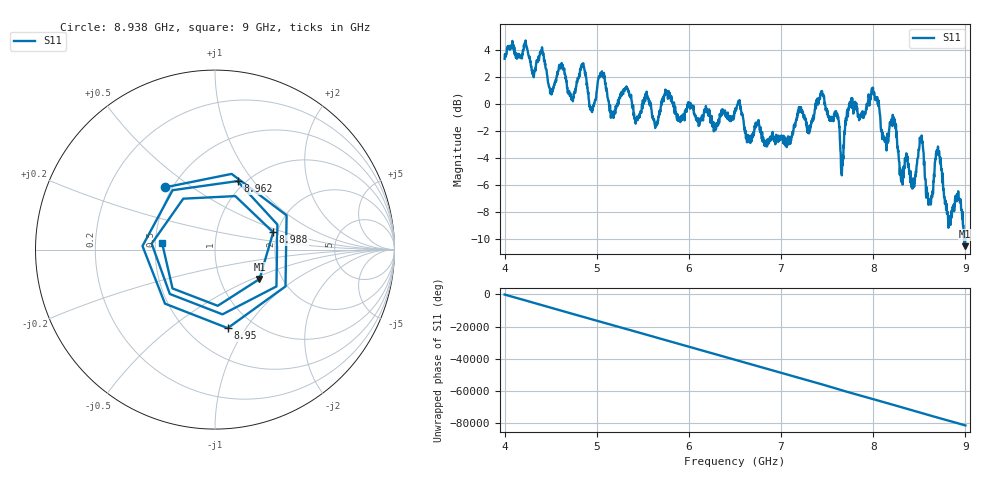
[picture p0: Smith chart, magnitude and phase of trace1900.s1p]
! Created with skrf 1.8.0 (http://scikit-rf.org).
# Hz S RI R 50.0
!freq ReS11 ImS11
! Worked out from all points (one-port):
!   1601 points, 4 GHz to 9 GHz, reference 50 ohm
!   lowest |S11| = -10.5 dB at 8.991 GHz (marker M1), VSWR 1.85, Z = 76.9 - j27.7 ohm
!   |S11| at or under -10 dB: 8.989572 GHz to 8.995151 GHz (5.579 MHz wide, 0.062 % of centre); 8.997567 GHz to end of sweep
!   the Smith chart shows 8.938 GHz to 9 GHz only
!   S11 on the Smith chart (normalised r, x): 8.938 GHz: 0.46, +0.40; 8.95 GHz: 0.76, -0.83; 8.962 GHz: 0.92, +0.84; 8.988 GHz: 1.90, +0.42; 9 GHz: 0.54, +0.05
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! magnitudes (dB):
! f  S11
! 4 GHz  3.4
! 4.506 GHz  1.1
! 4.625 GHz  2.9
! 4.728 GHz  0.5
! 4.853 GHz  3.1
! 4.944 GHz  -0.2
! 5.044 GHz  2.3
! 5.162 GHz  -0.6
! 5.25 GHz  0.5
! 5.875 GHz  -0.8
! 6.5 GHz  -0.6
! 7.125 GHz  -2.0
! 7.444 GHz  1.0
! 7.662 GHz  -4.7
! 7.75 GHz  0.0
! 8.006 GHz  0.7
! 8.375 GHz  -4.4
! 8.441 GHz  -5.8
! 8.522 GHz  -2.5
! 8.616 GHz  -7.1
! 8.703 GHz  -3.1
! 8.816 GHz  -9.2
! 8.938 GHz  -7.1
! 8.95 GHz  -7.1
! 8.962 GHz  -7.9
! 8.988 GHz  -9.4
! 8.991 GHz  -10.5
! 9 GHz  -10.5
